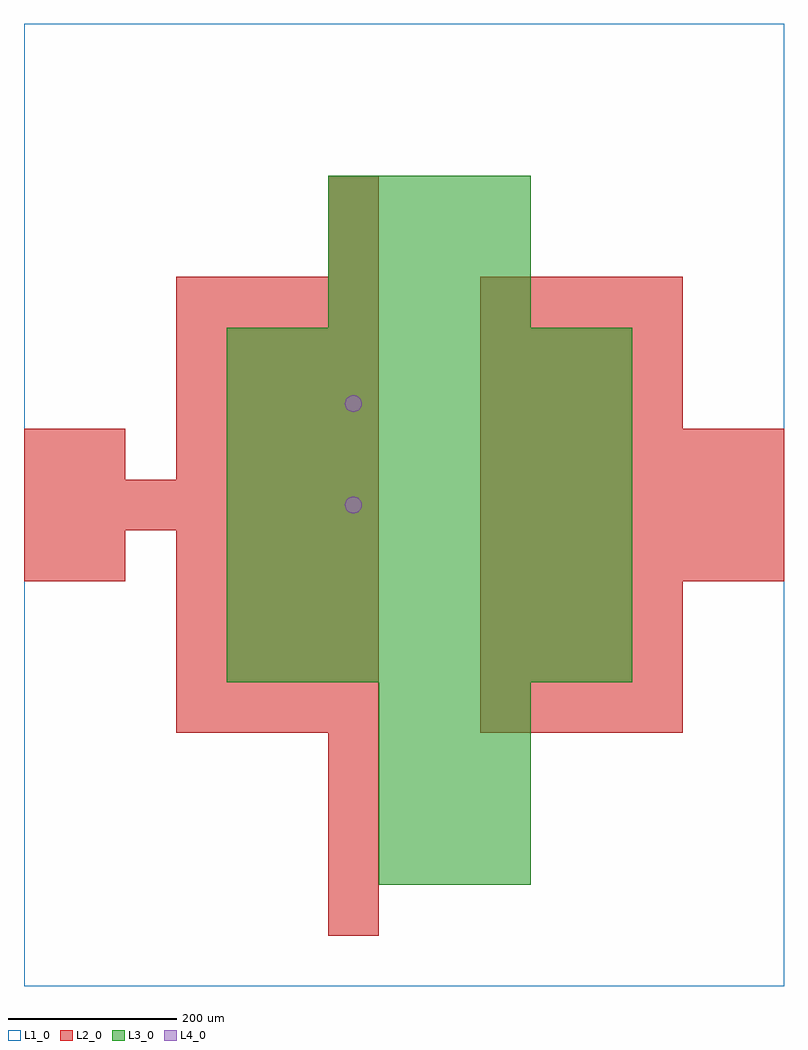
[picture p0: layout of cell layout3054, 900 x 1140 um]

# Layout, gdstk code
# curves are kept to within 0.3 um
import gdstk
lib = gdstk.Library(unit=1e-6, precision=1e-09)
def R(c, l, rs):  # rectangles x0, y0, x1, y1
    for r in rs: c.add(gdstk.rectangle(r[:2], r[2:], *l))
def A(c, l, x, y, w, h, nx, ny, dx, dy):  # array of equal rectangles
    R(c, l, [(x+i*dx, y+j*dy, x+i*dx+w, y+j*dy+h) for i in range(nx) for j in range(ny)])
def P(c, l, *ps):  # polygons
    for p in ps: c.add(gdstk.Polygon(p, *l))
L1_0 = (1, 0)
L2_0 = (2, 0)
L3_0 = (3, 0)
L4_0 = (4, 0)

layout3054 = lib.new_cell('layout3054')
R(layout3054, L1_0, [(0,0,900,1140)])
A(layout3054, L2_0, 360, 60, 60, 60, 1, 4, 0, 60)
A(layout3054, L2_0, 180, 300, 60, 60, 4, 4, 60, 60)
A(layout3054, L2_0, 540, 300, 60, 60, 4, 3, 60, 60)
A(layout3054, L2_0, 540, 480, 60, 60, 6, 3, 60, 60)
A(layout3054, L2_0, 0, 540, 60, 60, 7, 1, 60, 0)
A(layout3054, L2_0, 180, 600, 60, 60, 4, 4, 60, 60)
A(layout3054, L2_0, 540, 660, 60, 60, 4, 3, 60, 60)
R(layout3054, L2_0, [(0,480,60,540), (60,480,120,540), (0,600,60,660), (60,600,120,660), (360,840,420,900), (360,900,420,960)])
A(layout3054, L3_0, 420, 120, 60, 60, 3, 4, 60, 60)
A(layout3054, L3_0, 240, 360, 60, 60, 8, 7, 60, 60)
A(layout3054, L3_0, 360, 780, 60, 60, 4, 3, 60, 60)
P(layout3054, L4_0, [(400,570),(399.239,573.827),(397.071,577.071),(393.827,579.239),(390,580),(386.173,579.239),(382.929,577.071),(380.761,573.827),(380,570),(380.761,566.173),(382.929,562.929),(386.173,560.761),(390,560),(393.827,560.761),(397.071,562.929),(399.239,566.173)],
  [(400,690),(399.239,693.827),(397.071,697.071),(393.827,699.239),(390,700),(386.173,699.239),(382.929,697.071),(380.761,693.827),(380,690),(380.761,686.173),(382.929,682.929),(386.173,680.761),(390,680),(393.827,680.761),(397.071,682.929),(399.239,686.173)])

lib.write_gds('layout3054.gds')
